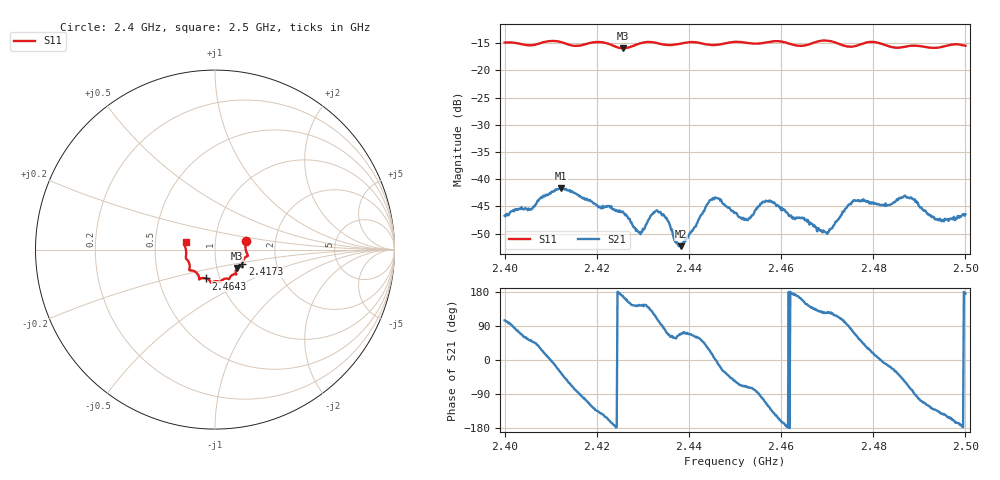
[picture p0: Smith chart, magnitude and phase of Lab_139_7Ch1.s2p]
# Hz S RI R 50
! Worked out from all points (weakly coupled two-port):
!   601 points, 2.4 GHz to 2.5 GHz, reference 50 ohm
!   highest |S21| = -41.60 dB at 2.4122 GHz (marker M1); lowest = -52.3 dB at 2.4383 GHz (marker M2)
!   lowest |S11| = -15.9 dB at 2.4257 GHz (marker M3), VSWR 1.38, Z = 62.4 - j13.1 ohm
!   |S11| at or under -10 dB: start of sweep to end of sweep
!   S12 and S22 are empty: the file has one direction only
!   S11 on the Smith chart (normalised r, x): 2.4 GHz: 1.41, +0.14; 2.4173 GHz: 1.34, -0.23; 2.4643 GHz: 0.86, -0.28; 2.5 GHz: 0.72, +0.06
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2.4e9  0.1734 0.0497  -0.00115 0.00447  0 0  0 0
2.405833e9  0.1703 0.00348  0.0033 0.00412  0 0  0 0
2.412167e9  0.1788 -0.0367  0.00702 -0.00447  0 0  0 0
2.416667e9  0.153 -0.0746  -0.000513 -0.00683  0 0  0 0
2.417333e9  0.1524 -0.0822  -0.00126 -0.00648  0 0  0 0
2.425667e9  0.1224 -0.1024  -0.00494 0.000953  0 0  0 0
2.429333e9  0.1167 -0.1332  -0.00264 0.00195  0 0  0 0
2.433333e9  0.1127 -0.1367  -0.0012 0.00487  0 0  0 0
2.438333e9  0.0819 -0.1562  0.00084 0.00227  0 0  0 0
2.444833e9  0.0567 -0.1616  0.00616 0.00202  0 0  0 0
2.4465e9  0.0437 -0.1672  0.00645 -0.00148  0 0  0 0
2.45e9  0.0294 -0.1808  0.00273 -0.00411  0 0  0 0
2.452833e9  0.0183 -0.1776  0.00135 -0.00399  0 0  0 0
2.457333e9  -0.0153 -0.182  -0.00339 -0.00522  0 0  0 0
2.464333e9  -0.0503 -0.1605  -0.00417 0.00138  0 0  0 0
2.466667e9  -0.0765 -0.1597  -0.00296 0.00253  0 0  0 0
2.470167e9  -0.0875 -0.1659  -0.00195 0.00261  0 0  0 0
2.476167e9  -0.1184 -0.1189  0.00249 0.00581  0 0  0 0
2.483333e9  -0.141 -0.0893  0.00554 -0.00163  0 0  0 0
2.487167e9  -0.1566 -0.0554  0.0033 -0.00602  0 0  0 0
2.493833e9  -0.1616 -0.00355  -0.00293 -0.00309  0 0  0 0
2.5e9  -0.1634 0.0419  -0.00475 0.000402  0 0  0 0
